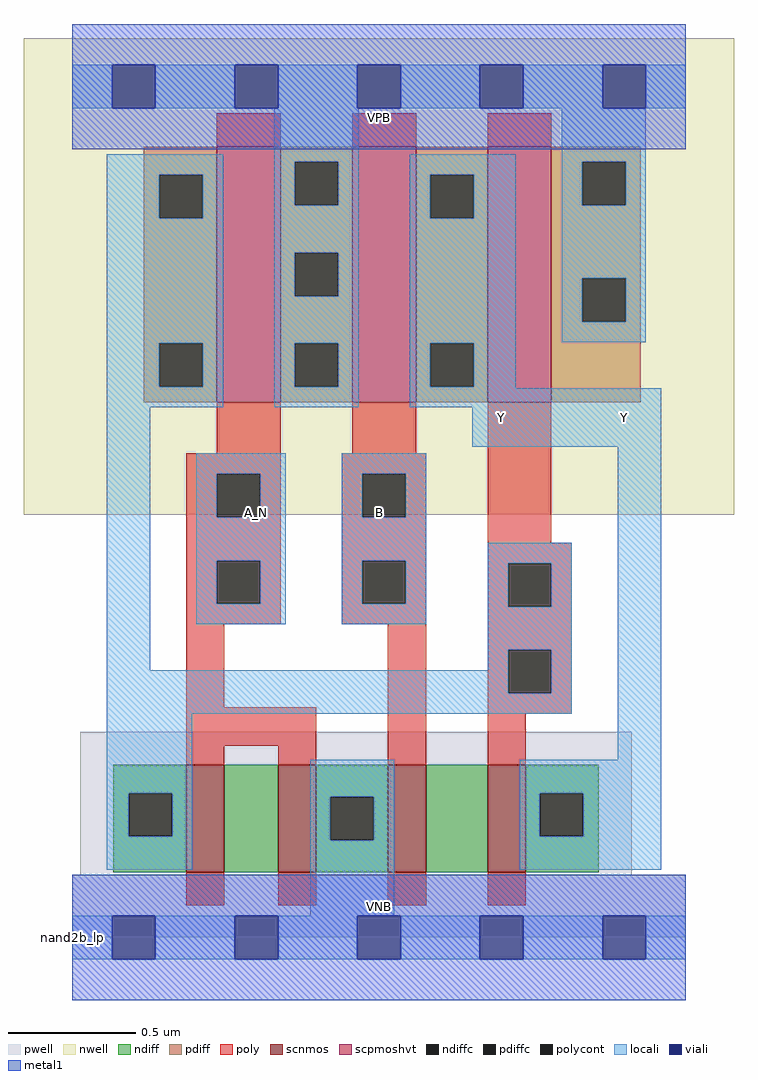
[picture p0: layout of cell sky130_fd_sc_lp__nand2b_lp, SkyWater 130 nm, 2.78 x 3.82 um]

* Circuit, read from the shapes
.subckt sky130_fd_sc_lp__nand2b_lp A_N B VGND VNB VPB VPWR Y
XM1 n1 A_N n2 VNB sky130_fd_pr__nfet_01v8 w=0.42 l=0.15
XM2 VGND A_N n1 VNB sky130_fd_pr__nfet_01v8 w=0.42 l=0.15
XM3 n3 B VGND VNB sky130_fd_pr__nfet_01v8 w=0.42 l=0.15
XM4 Y n2 n3 VNB sky130_fd_pr__nfet_01v8 w=0.42 l=0.15
XM5 VPWR A_N n2 VPB sky130_fd_pr__pfet_01v8_hvt w=1 l=0.25
XM6 Y B VPWR VPB sky130_fd_pr__pfet_01v8_hvt w=1 l=0.25
XM7 VPWR n2 Y VPB sky130_fd_pr__pfet_01v8_hvt w=1 l=0.25
.ends

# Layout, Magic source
magic
tech sky130A
magscale 1 2
<< nwell >>
rect -38 331 518 704
<< pwell >>
rect 6 49 438 161
rect 0 0 480 49
<< scnmos >>
rect 89 51 119 135
rect 161 51 191 135
rect 247 51 277 135
rect 325 51 355 135
<< scpmoshvt >>
rect 113 419 163 619
rect 219 419 269 619
rect 325 419 375 619
<< ndiff >>
rect 32 113 89 135
rect 32 79 44 113
rect 78 79 89 113
rect 32 51 89 79
rect 119 51 161 135
rect 191 110 247 135
rect 191 76 202 110
rect 236 76 247 110
rect 191 51 247 76
rect 277 51 325 135
rect 355 113 412 135
rect 355 79 366 113
rect 400 79 412 113
rect 355 51 412 79
<< pdiff >>
rect 56 597 113 619
rect 56 563 68 597
rect 102 563 113 597
rect 56 465 113 563
rect 56 431 68 465
rect 102 431 113 465
rect 56 419 113 431
rect 163 607 219 619
rect 163 573 174 607
rect 208 573 219 607
rect 163 536 219 573
rect 163 502 174 536
rect 208 502 219 536
rect 163 465 219 502
rect 163 431 174 465
rect 208 431 219 465
rect 163 419 219 431
rect 269 597 325 619
rect 269 563 280 597
rect 314 563 325 597
rect 269 465 325 563
rect 269 431 280 465
rect 314 431 325 465
rect 269 419 325 431
rect 375 607 445 619
rect 375 573 399 607
rect 433 573 445 607
rect 375 516 445 573
rect 375 482 399 516
rect 433 482 445 516
rect 375 419 445 482
<< ndiffc >>
rect 44 79 78 113
rect 202 76 236 110
rect 366 79 400 113
<< pdiffc >>
rect 68 563 102 597
rect 68 431 102 465
rect 174 573 208 607
rect 174 502 208 536
rect 174 431 208 465
rect 280 563 314 597
rect 280 431 314 465
rect 399 573 433 607
rect 399 482 433 516
<< poly >>
rect 113 619 163 645
rect 219 619 269 645
rect 325 619 375 645
rect 113 379 163 419
rect 219 379 269 419
rect 89 363 163 379
rect 89 329 113 363
rect 147 329 163 363
rect 89 295 163 329
rect 89 261 113 295
rect 147 261 163 295
rect 89 245 163 261
rect 211 363 277 379
rect 211 329 227 363
rect 261 329 277 363
rect 211 295 277 329
rect 211 261 227 295
rect 261 261 277 295
rect 211 245 277 261
rect 89 180 119 245
rect 89 150 191 180
rect 89 135 119 150
rect 161 135 191 150
rect 247 135 277 245
rect 325 309 375 419
rect 325 293 391 309
rect 325 259 341 293
rect 375 259 391 293
rect 325 225 391 259
rect 325 191 341 225
rect 375 191 391 225
rect 325 175 391 191
rect 325 135 355 175
rect 89 25 119 51
rect 161 25 191 51
rect 247 25 277 51
rect 325 25 355 51
<< polycont >>
rect 113 329 147 363
rect 113 261 147 295
rect 227 329 261 363
rect 227 261 261 295
rect 341 259 375 293
rect 341 191 375 225
<< locali >>
rect 0 649 31 683
rect 65 649 127 683
rect 161 649 223 683
rect 257 649 319 683
rect 353 649 415 683
rect 449 649 480 683
rect 27 597 118 613
rect 27 563 68 597
rect 102 563 118 597
rect 27 465 118 563
rect 27 431 68 465
rect 102 431 118 465
rect 27 415 118 431
rect 158 607 224 649
rect 158 573 174 607
rect 208 573 224 607
rect 158 536 224 573
rect 158 502 174 536
rect 208 502 224 536
rect 158 465 224 502
rect 158 431 174 465
rect 208 431 224 465
rect 158 415 224 431
rect 264 597 347 613
rect 264 563 280 597
rect 314 563 347 597
rect 264 465 347 563
rect 383 607 449 649
rect 383 573 399 607
rect 433 573 449 607
rect 383 516 449 573
rect 383 482 399 516
rect 433 482 449 516
rect 383 466 449 482
rect 264 431 280 465
rect 314 431 347 465
rect 264 430 347 431
rect 264 415 461 430
rect 27 209 61 415
rect 313 384 461 415
rect 97 363 167 379
rect 97 329 113 363
rect 147 329 167 363
rect 97 295 167 329
rect 97 261 113 295
rect 147 261 167 295
rect 97 245 167 261
rect 211 363 277 379
rect 211 329 227 363
rect 261 329 277 363
rect 211 295 277 329
rect 211 261 227 295
rect 261 261 277 295
rect 211 245 277 261
rect 325 293 391 309
rect 325 259 341 293
rect 375 259 391 293
rect 325 225 391 259
rect 325 209 341 225
rect 27 191 341 209
rect 375 191 391 225
rect 27 175 391 191
rect 27 113 94 175
rect 427 139 461 384
rect 27 79 44 113
rect 78 79 94 113
rect 27 53 94 79
rect 186 110 252 139
rect 186 76 202 110
rect 236 76 252 110
rect 186 17 252 76
rect 350 113 461 139
rect 350 79 366 113
rect 400 79 461 113
rect 350 53 461 79
rect 0 -17 31 17
rect 65 -17 127 17
rect 161 -17 223 17
rect 257 -17 319 17
rect 353 -17 415 17
rect 449 -17 480 17
<< viali >>
rect 31 649 65 683
rect 127 649 161 683
rect 223 649 257 683
rect 319 649 353 683
rect 415 649 449 683
rect 31 -17 65 17
rect 127 -17 161 17
rect 223 -17 257 17
rect 319 -17 353 17
rect 415 -17 449 17
<< metal1 >>
rect 0 683 480 715
rect 0 649 31 683
rect 65 649 127 683
rect 161 649 223 683
rect 257 649 319 683
rect 353 649 415 683
rect 449 649 480 683
rect 0 617 480 649
rect 0 17 480 49
rect 0 -17 31 17
rect 65 -17 127 17
rect 161 -17 223 17
rect 257 -17 319 17
rect 353 -17 415 17
rect 449 -17 480 17
rect 0 -49 480 -17
<< labels >>
flabel pwell s 0 0 480 49 0 FreeSans 200 0 0 0 VNB
port 4 nsew ground bidirectional
flabel nwell s 0 617 480 666 0 FreeSans 200 0 0 0 VPB
port 5 nsew power bidirectional
rlabel comment s 0 0 0 0 4 nand2b_lp
flabel metal1 s 0 617 480 666 0 FreeSans 340 0 0 0 VPWR
port 6 nsew power bidirectional
flabel metal1 s 0 0 480 49 0 FreeSans 340 0 0 0 VGND
port 3 nsew ground bidirectional
flabel locali s 127 316 161 350 0 FreeSans 340 0 0 0 A_N
port 1 nsew signal input
flabel locali s 223 316 257 350 0 FreeSans 340 0 0 0 B
port 2 nsew signal input
flabel locali s 319 390 353 424 0 FreeSans 340 0 0 0 Y
port 7 nsew signal output
flabel locali s 415 390 449 424 0 FreeSans 340 0 0 0 Y
port 7 nsew signal output
<< properties >>
string LEFsite unit
string LEFclass CORE
string FIXED_BBOX 0 0 480 666
string GDS_FILE $PDKPATH/libs.ref/sky130_fd_sc_lp/gds/sky130_fd_sc_lp.gds
string LEFsymmetry X Y R90
string GDS_END 4445084
string GDS_START 4440370
<< end >>
